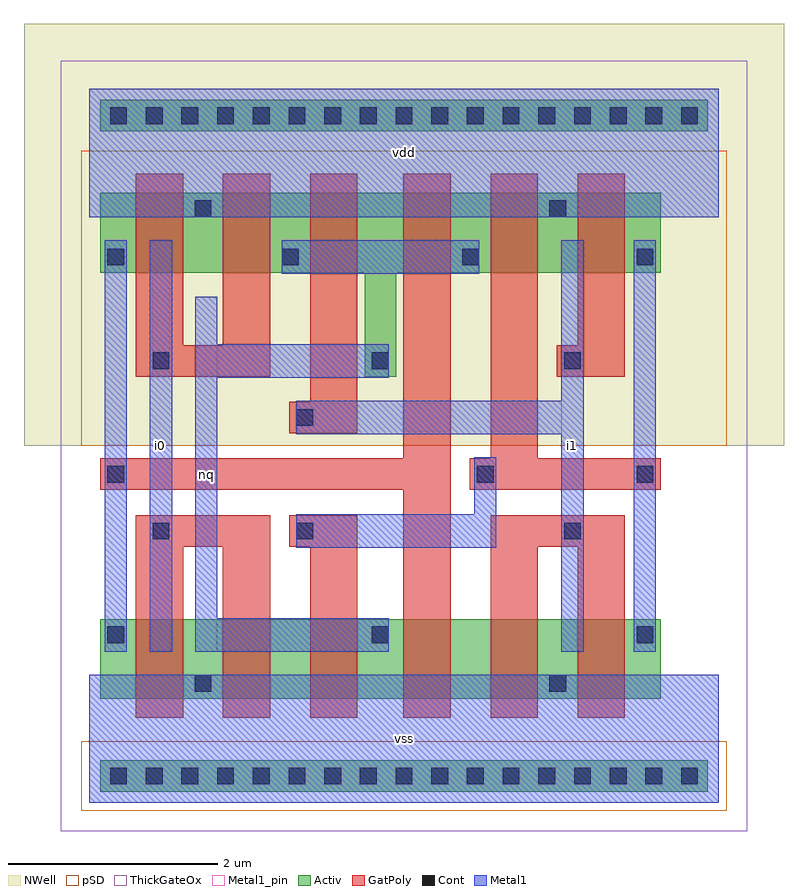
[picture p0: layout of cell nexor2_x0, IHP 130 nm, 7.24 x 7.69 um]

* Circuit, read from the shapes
.subckt nexor2_x0 i0 i1 nq vdd vss
XM1 vss i0 n1 vss sg13_hv_nmos w=0.76u l=0.45u
XM2 n2 i0 vss vss sg13_hv_nmos w=0.76u l=0.45u
XM3 nq n3 n2 vss sg13_hv_nmos w=0.76u l=0.45u
XM4 n4 n1 nq vss sg13_hv_nmos w=0.76u l=0.45u
XM5 vss i1 n4 vss sg13_hv_nmos w=0.76u l=0.45u
XM6 n3 i1 vss vss sg13_hv_nmos w=0.76u l=0.45u
XM7 vdd i0 n1 vdd sg13_hv_pmos w=0.76u l=0.45u
XM8 n5 i0 vdd vdd sg13_hv_pmos w=0.76u l=0.45u
XM9 nq i1 n5 vdd sg13_hv_pmos w=0.76u l=0.45u
XM10 n5 n1 nq vdd sg13_hv_pmos w=0.76u l=0.45u
XM11 vdd n3 n5 vdd sg13_hv_pmos w=0.76u l=0.45u
XM12 n3 i1 vdd vdd sg13_hv_pmos w=0.76u l=0.45u
.ends

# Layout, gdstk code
import gdstk
lib = gdstk.Library(unit=1e-6, precision=1e-09)
def R(c, l, rs):  # rectangles x0, y0, x1, y1
    for r in rs: c.add(gdstk.rectangle(r[:2], r[2:], *l))
def A(c, l, x, y, w, h, nx, ny, dx, dy):  # array of equal rectangles
    R(c, l, [(x+i*dx, y+j*dy, x+i*dx+w, y+j*dy+h) for i in range(nx) for j in range(ny)])
def P(c, l, *ps):  # polygons
    for p in ps: c.add(gdstk.Polygon(p, *l))
Activ = (1, 0)
GatPoly = (5, 0)
Cont = (6, 0)
Metal1 = (8, 0)
Metal1_pin = (8, 2)
pSD = (14, 0)
NWell = (31, 0)
ThickGateOx = (44, 0)

nexor2_x0 = lib.new_cell('nexor2_x0')
R(nexor2_x0, Activ, [(0.105,0.105,5.895,0.405), (0.105,0.99,5.445,1.75), (0.105,6.395,5.895,6.695)])
P(nexor2_x0, Activ, [(2.625,4.06),(2.625,5.05),(0.105,5.05),(0.105,5.81),(5.445,5.81),(5.445,5.05),(2.925,5.05),(2.925,4.06)])
P(nexor2_x0, GatPoly, [(2.995,0.81),(2.995,2.98),(0.105,2.98),(0.105,3.28),(2.995,3.28),(2.995,5.99),(3.445,5.99),(3.445,0.81)],
  [(0.445,4.06),(0.445,5.99),(0.895,5.99),(0.895,4.36),(1.275,4.36),(1.275,5.99),(1.725,5.99),(1.725,4.06)],
  [(0.445,0.81),(0.445,2.74),(1.725,2.74),(1.725,0.81),(1.275,0.81),(1.275,2.44),(0.895,2.44),(0.895,0.81)],
  [(3.625,2.98),(3.625,3.28),(3.825,3.28),(3.825,5.99),(4.275,5.99),(4.275,3.28),(5.445,3.28),(5.445,2.98)],
  [(2.105,0.81),(2.105,2.44),(1.905,2.44),(1.905,2.74),(2.555,2.74),(2.555,0.81)],
  [(3.825,0.81),(3.825,2.74),(5.105,2.74),(5.105,0.81),(4.655,0.81),(4.655,2.44),(4.275,2.44),(4.275,0.81)],
  [(1.905,3.52),(1.905,3.82),(2.105,3.82),(2.105,5.99),(2.555,5.99),(2.555,3.52)],
  [(4.455,4.06),(4.455,4.36),(4.655,4.36),(4.655,5.99),(5.105,5.99),(5.105,4.06)])
A(nexor2_x0, Cont, 0.2, 0.175, 0.16, 0.16, 17, 2, 0.34, 6.29)
A(nexor2_x0, Cont, 0.175, 1.52, 0.16, 0.16, 3, 1, 2.52, 0)
R(nexor2_x0, Cont, [(1.005,1.06,1.165,1.22), (4.385,1.06,4.545,1.22), (0.605,2.51,0.765,2.67), (1.975,2.51,2.135,2.67), (4.525,2.51,4.685,2.67), (0.175,3.05,0.335,3.21), (3.695,3.05,3.855,3.21), (5.215,3.05,5.375,3.21), (1.975,3.59,2.135,3.75), (0.605,4.13,0.765,4.29), (2.695,4.13,2.855,4.29), (4.525,4.13,4.685,4.29), (0.175,5.12,0.335,5.28), (1.835,5.12,1.995,5.28), (3.555,5.12,3.715,5.28), (5.215,5.12,5.375,5.28), (1.005,5.58,1.165,5.74), (4.385,5.58,4.545,5.74)])
R(nexor2_x0, Metal1, [(0,0,6,1.22), (0.15,1.44,0.36,5.36), (0.58,1.44,0.79,5.36), (5.19,1.44,5.4,5.36), (1.835,5.04,3.715,5.36), (0,5.58,6,6.8)])
P(nexor2_x0, Metal1, [(1.01,1.44),(1.01,4.82),(1.22,4.82),(1.22,4.37),(2.855,4.37),(2.855,4.05),(1.22,4.05),(1.22,1.76),(2.855,1.76),(2.855,1.44)],
  [(1.975,2.43),(1.975,2.75),(3.67,2.75),(3.67,3.29),(3.88,3.29),(3.88,2.43)],
  [(4.5,1.44),(4.5,3.51),(1.975,3.51),(1.975,3.83),(4.5,3.83),(4.5,5.36),(4.71,5.36),(4.71,1.44)])
R(nexor2_x0, Metal1_pin, [(0,0,6,1.22), (0.58,1.44,0.79,5.36), (1.01,1.44,1.22,4.82), (4.5,1.44,4.71,5.36), (0,5.58,6,6.8)])
R(nexor2_x0, pSD, [(-0.075,-0.075,6.075,0.585), (-0.075,3.4,6.075,6.21)])
R(nexor2_x0, NWell, [(-0.62,3.4,6.62,7.42)])
R(nexor2_x0, ThickGateOx, [(-0.27,-0.27,6.27,7.07)])
nexor2_x0.add(gdstk.Label('vdd', (3,6.19), layer=8, texttype=2))
nexor2_x0.add(gdstk.Label('vss', (3,0.61), layer=8, texttype=2))
nexor2_x0.add(gdstk.Label('i0', (0.685,3.4), layer=8, texttype=2))
nexor2_x0.add(gdstk.Label('nq', (1.115,3.13), layer=8, texttype=2))
nexor2_x0.add(gdstk.Label('i1', (4.605,3.4), layer=8, texttype=2))

lib.write_gds('nexor2_x0.gds')
